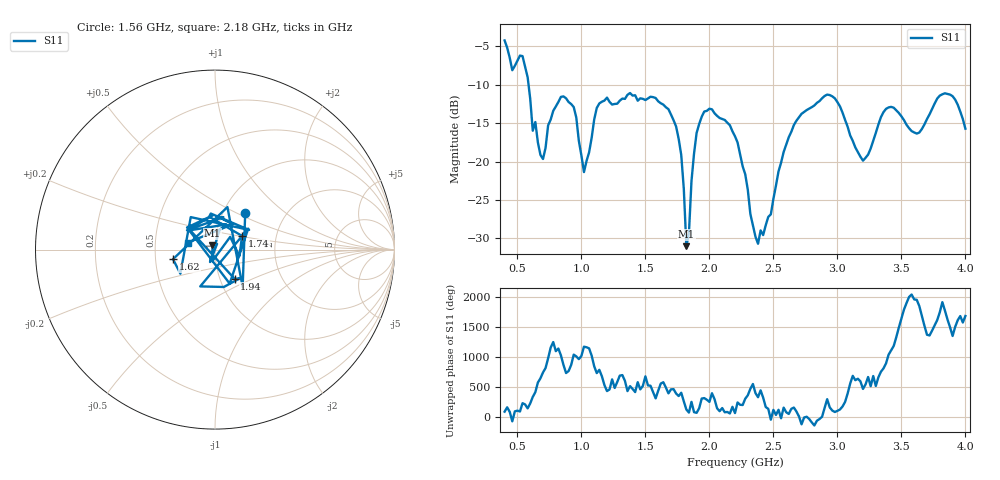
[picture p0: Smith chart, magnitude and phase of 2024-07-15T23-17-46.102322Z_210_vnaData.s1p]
!Created with skrf (http://scikit-rf.org).
# Hz S RI R 50.0
!freq ReS11 ImS11
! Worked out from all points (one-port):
!   181 points, 400 MHz to 4 GHz, reference 50 ohm
!   lowest |S11| = -31.0 dB at 1.82 GHz (marker M1), VSWR 1.06, Z = 48.5 + j2.34 ohm
!   |S11| at or under -10 dB: 587.1 MHz to end of sweep
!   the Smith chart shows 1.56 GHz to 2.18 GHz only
!   S11 on the Smith chart (normalised r, x): 1.56 GHz: 1.27, +0.55; 1.62 GHz: 0.62, -0.07; 1.74 GHz: 1.34, +0.21; 1.94 GHz: 1.17, -0.40; 2.18 GHz: 0.73, +0.06
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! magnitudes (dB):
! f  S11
! 400 MHz  -4.2
! 460 MHz  -8.1
! 540 MHz  -6.3
! 620 MHz  -16.0
! 700 MHz  -19.7
! 860 MHz  -11.5
! 940 MHz  -12.9
! 1.02 GHz  -21.4
! 1.12 GHz  -13.0
! 1.3 GHz  -12.1
! 1.56 GHz  -11.6
! 1.62 GHz  -12.4
! 1.74 GHz  -15.4
! 1.76 GHz  -17.0
! 1.82 GHz  -31.0
! 1.88 GHz  -19.0
! 1.94 GHz  -14.2
! 2.18 GHz  -16.1
! 2.2 GHz  -16.7
! 2.38 GHz  -30.7
! 2.66 GHz  -15.2
! 2.94 GHz  -11.3
! 3.1 GHz  -16.6
! 3.2 GHz  -19.9
! 3.38 GHz  -13.1
! 3.56 GHz  -15.7
! 3.84 GHz  -11.1
! 4 GHz  -15.7
